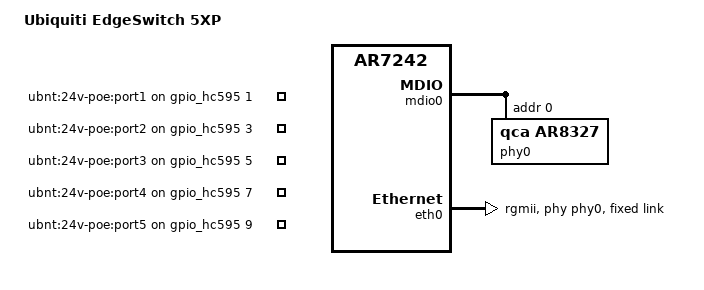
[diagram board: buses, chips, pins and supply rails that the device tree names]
// SPDX-License-Identifier: GPL-2.0-or-later OR MIT

#include "ar7242_ubnt_sw.dtsi"

/ {
	compatible = "ubnt,edgeswitch-5xp", "qca,ar7242";
	model = "Ubiquiti EdgeSwitch 5XP";

	gpio-export {
		compatible = "gpio-export";

		poe_24v_port1 {
			gpio-export,name = "ubnt:24v-poe:port1";
			gpio-export,output = <0>;
			gpios = <&gpio_hc595 1 GPIO_ACTIVE_HIGH>;
		};

		poe_24v_port2 {
			gpio-export,name = "ubnt:24v-poe:port2";
			gpio-export,output = <0>;
			gpios = <&gpio_hc595 3 GPIO_ACTIVE_HIGH>;
		};

		poe_24v_port3 {
			gpio-export,name = "ubnt:24v-poe:port3";
			gpio-export,output = <0>;
			gpios = <&gpio_hc595 5 GPIO_ACTIVE_HIGH>;
		};

		poe_24v_port4 {
			gpio-export,name = "ubnt:24v-poe:port4";
			gpio-export,output = <0>;
			gpios = <&gpio_hc595 7 GPIO_ACTIVE_HIGH>;
		};

		poe_24v_port5 {
			gpio-export,name = "ubnt:24v-poe:port5";
			gpio-export,output = <0>;
			gpios = <&gpio_hc595 9 GPIO_ACTIVE_HIGH>;
		};
	};
};

&mdio0 {
	status = "okay";

	phy0: ethernet-switch@0 {
		compatible = "qca,ar8327";
		reg = <0x0>;

		qca,ar8327-initvals = <
			0x04 0x05100000 /* PORT0 PAD MODE CTRL */
			0x0c 0x05100000 /* PORT6 PAD MODE CTRL */
			0x50 0x40004000 /* LED_CTRL0 */
			0x54 0x40004000 /* LED_CTRL1 */
			0x58 0x40004000 /* LED_CTRL2 */
			0x5c 0x03ffff00 /* LED_CTRL3 */
			0x7c 0x0000007e /* PORT0_STATUS */
			0x94 0x0000007e /* PORT6_STATUS */
		>;
	};
};

&eth0 {
	status = "okay";

	phy-handle = <&phy0>;
	phy-mode = "rgmii";

	mtd-mac-address = <&art 0x0>;

	fixed-link {
		speed = <1000>;
		full-duplex;
	};
};
